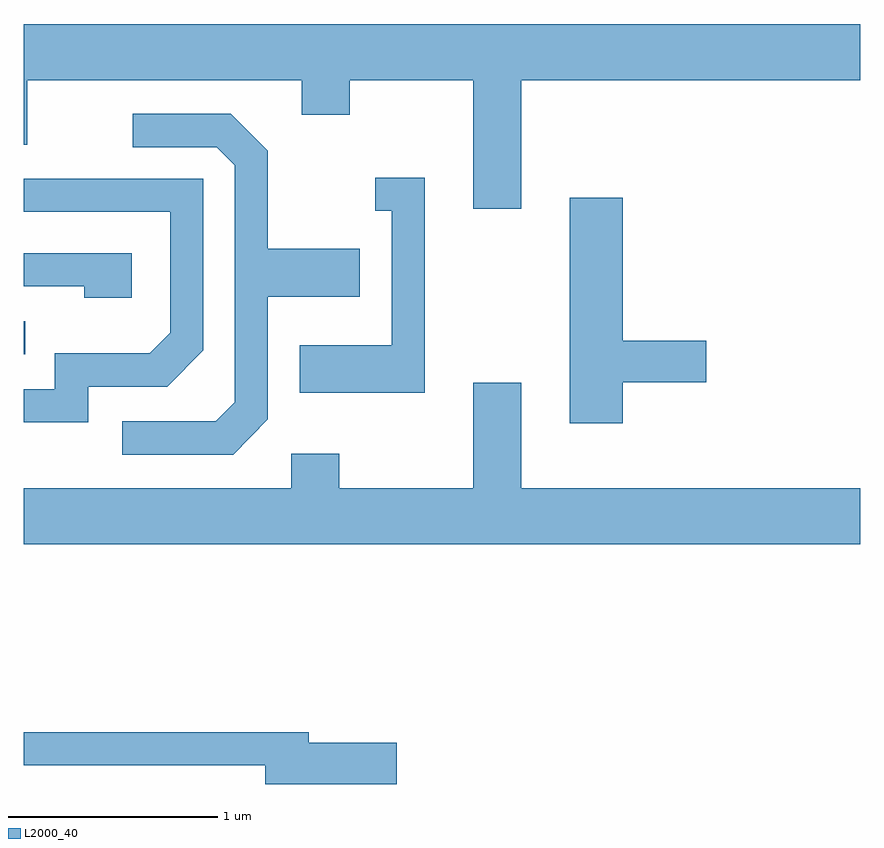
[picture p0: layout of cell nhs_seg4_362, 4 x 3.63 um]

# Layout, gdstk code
import gdstk
lib = gdstk.Library(unit=1e-6, precision=1e-09)
def R(c, l, rs):  # rectangles x0, y0, x1, y1
    for r in rs: c.add(gdstk.rectangle(r[:2], r[2:], *l))
def P(c, l, *ps):  # polygons
    for p in ps: c.add(gdstk.Polygon(p, *l))
L2000_40 = (2000, 40)

nhs_seg4_362 = lib.new_cell('nhs_seg4_362')
R(nhs_seg4_362, L2000_40, [(195.611,1300.086,195.618,1300.244)])
P(nhs_seg4_362, L2000_40, [(197.989,1301.396),(199.611,1301.396),(199.611,1301.664),(195.611,1301.664),(195.611,1301.086),(195.629,1301.086),(195.629,1301.396),(196.941,1301.396),(196.941,1301.231),(197.169,1301.231),(197.169,1301.396),(197.761,1301.396),(197.761,1300.781),(197.989,1300.781)],
  [(196.779,1299.774),(196.779,1300.361),(197.219,1300.361),(197.219,1300.589),(196.779,1300.589),(196.779,1301.057),(196.602,1301.234),(196.133,1301.234),(196.133,1301.076),(196.534,1301.076),(196.621,1300.989),(196.621,1299.857),(196.529,1299.764),(196.083,1299.764),(196.083,1299.606),(196.612,1299.606)],
  [(197.529,1300.929),(197.293,1300.929),(197.293,1300.771),(197.371,1300.771),(197.371,1300.129),(196.931,1300.129),(196.931,1299.901),(197.529,1299.901)],
  [(195.919,1299.931),(196.297,1299.931),(196.469,1300.104),(196.469,1300.924),(195.611,1300.924),(195.611,1300.766),(196.311,1300.766),(196.311,1300.187),(196.214,1300.089),(195.761,1300.089),(195.761,1299.919),(195.611,1299.919),(195.611,1299.761),(195.919,1299.761)],
  [(198.474,1299.951),(198.874,1299.951),(198.874,1300.149),(198.474,1300.149),(198.474,1300.834),(198.221,1300.834),(198.221,1299.756),(198.474,1299.756)],
  [(196.129,1300.569),(195.611,1300.569),(195.611,1300.411),(195.901,1300.411),(195.901,1300.356),(196.129,1300.356)],
  [(199.611,1299.444),(197.989,1299.444),(197.989,1299.949),(197.761,1299.949),(197.761,1299.444),(197.119,1299.444),(197.119,1299.609),(196.891,1299.609),(196.891,1299.444),(195.611,1299.444),(195.611,1299.176),(199.611,1299.176)],
  [(197.394,1298.229),(196.974,1298.229),(196.974,1298.279),(195.611,1298.279),(195.611,1298.121),(196.766,1298.121),(196.766,1298.031),(197.394,1298.031)])

lib.write_gds('nhs_seg4_362.gds')
